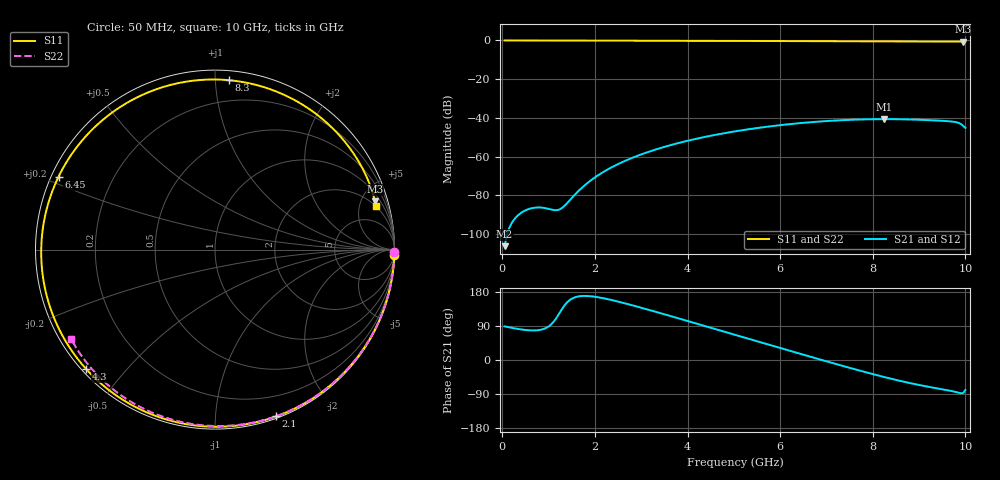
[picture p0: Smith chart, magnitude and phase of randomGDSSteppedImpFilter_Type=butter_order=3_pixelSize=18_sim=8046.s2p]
! freq	dB(S11)	phase(S11)	dB(S12)	phase(S12)
!  dB(S21)	phase(S21)	dB(S22)	phase(S22)
!S-par simulation data
#  GHz  S  DB  R 50
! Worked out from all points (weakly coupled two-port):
!   200 points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, 50 MHz to 10 GHz, reference 50 ohm
!   highest |S21| = -40.67 dB at 8.25 GHz (marker M1); lowest = -106.3 dB at 50 MHz (marker M2)
!   lowest |S11| = -0.6 dB at 9.95 GHz (marker M3), VSWR 27.85, Z = 79.5 + j319 ohm
!   |S11| at or under -10 dB: nowhere
!   |S22| runs from -0.5 to 0.0 dB; largest |S21 - S12| = 0
!   S11 on the Smith chart (normalised r, x): 50 MHz: 1, -66; 2.1 GHz: 0.02, -1.43; 4.3 GHz: 0.01, -0.39; 6.45 GHz: 0.02, +0.22; 8.3 GHz: 0.06, +1.08; 10 GHz: 1.94, +7.04
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0.05  -0.00 -1.7  -106.32 88.7  -106.32 88.7  -0.00 -0.9
0.75  -0.03 -25.5  -86.33 78.4  -86.33 78.4  -0.01 -12.8
1.55  -0.07 -52.1  -80.13 164.5  -80.13 164.5  -0.03 -26.3
1.75  -0.07 -58.6  -75.46 169.1  -75.46 169.1  -0.04 -29.6
2.1  -0.09 -69.8  -69.19 164.9  -69.19 164.9  -0.05 -35.4
2.7  -0.11 -88.7  -61.72 147.9  -61.72 147.9  -0.06 -45.1
3.4  -0.14 -110.1  -55.71 124.1  -55.71 124.1  -0.07 -56.2
4.3  -0.19 -137.2  -50.24 92.3  -50.24 92.3  -0.10 -70.0
5.05  -0.23 -159.9  -46.89 65.6  -46.89 65.6  -0.12 -81.1
5.75  -0.28 178.2  -44.49 40.6  -44.49 40.6  -0.15 -91.1
6.45  -0.34 155.0  -42.68 15.8  -42.68 15.8  -0.19 -100.9
6.7  -0.36 146.4  -42.17 7.0  -42.17 7.0  -0.20 -104.3
7.1  -0.39 132.0  -41.51 -7.0  -41.51 -7.0  -0.23 -109.7
7.55  -0.42 115.2  -40.98 -22.4  -40.98 -22.4  -0.26 -115.8
8.25  -0.47 87.4  -40.67 -45.0  -40.67 -45.0  -0.32 -125.0
8.3  -0.47 85.3  -40.67 -46.6  -40.67 -46.6  -0.32 -125.7
8.35  -0.48 83.3  -40.67 -48.1  -40.67 -48.1  -0.32 -126.3
8.7  -0.49 68.8  -40.78 -58.2  -40.78 -58.2  -0.36 -130.9
9.05  -0.51 54.1  -41.03 -67.2  -41.03 -67.2  -0.39 -135.5
9.75  -0.57 24.8  -42.03 -83.2  -42.03 -83.2  -0.47 -144.7
9.95  -0.62 16.8  -44.11 -87.2  -44.11 -87.2  -0.50 -147.3
10  -0.62 15.1  -45.21 -79.1  -45.21 -79.1  -0.51 -147.9
